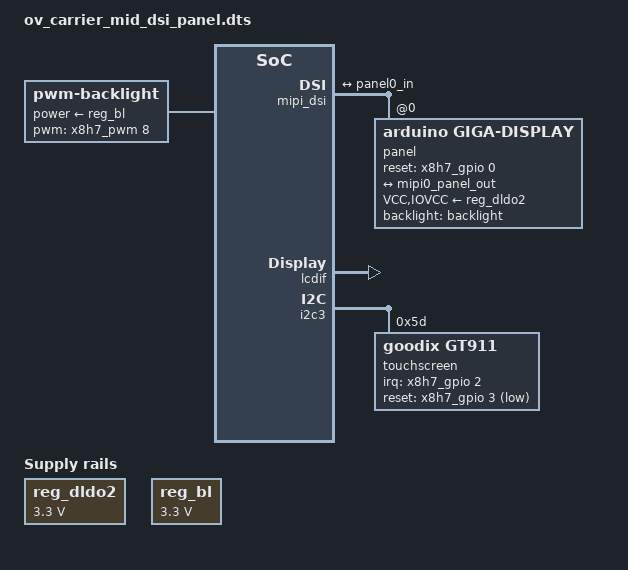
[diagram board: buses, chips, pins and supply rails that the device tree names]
/**
 * Portenta-X8 dtb overlay file
 * Arduino 2023
 * Enable display dsi panel and touch screen.
 */

/dts-v1/;
/plugin/;

#include "imx8mm-pinfunc.h"
#include <dt-bindings/gpio/gpio.h>

/ {
	fragment@0 {
		target-path = "/";
		__overlay__ {
			reg_dldo2: reg-dldo2 {
				compatible = "regulator-fixed";
				regulator-name = "mipi_panel_reg";
				regulator-min-microvolt = <3300000>;
				regulator-max-microvolt = <3300000>;
				regulator-always-on;
			};

			reg_bl: reg-bl {
				compatible = "regulator-fixed";
				regulator-name = "mipi_panel_backlight";
				regulator-min-microvolt = <3300000>;
				regulator-max-microvolt = <3300000>;
				regulator-always-on;
			};

			backlight: backlight-controller {
				compatible = "pwm-backlight";
				pwms = <&x8h7_pwm 8 100000 0>;
				power-supply = <&reg_bl>;
				brightness-levels = <0 11 20 30 40 50 60 70 80 90 100>;
				default-brightness-level = <9>;	/* => 90 */
			};
		};

	};

	fragment@1 {
		target = <&mipi_dsi>;
		__overlay__ {
			status = "okay";

			panel@0 {
				pinctrl-names = "default";
				compatible = "arduino,giga-display","sitronix,st7701";
				reg = <0>;
				VCC-supply = <&reg_dldo2>;
				IOVCC-supply = <&reg_dldo2>;
				reset-gpios = <&x8h7_gpio 0 GPIO_ACTIVE_HIGH>;
				backlight = <&backlight>;
				dsi-lanes = <2>;
				video-mode = <2>;	/* 0: burst mode
									 * 1: non-burst mode with sync event
									 * 2: non-burst mode with sync pulse
									 */
				status = "okay";

				port {
					panel0_in: endpoint {
						remote-endpoint = <&mipi0_panel_out>;
					};
				};
			};

			port@1 {
				mipi0_panel_out: endpoint {
					attach-bridge;
					remote-endpoint = <&panel0_in>;
				};
			};
		};
	};

	fragment@2 {
		target = <&lcdif>;
		__overlay__ {
			status = "okay";
		};
	};

	fragment@3 {
		target = <&i2c3>;
		__overlay__ {
			touchscreen@5d {
				pinctrl-names = "default";
				compatible = "goodix,gt911";
				reg = <0x5d>;
				interrupts-extended = <&x8h7_gpio 2 GPIO_ACTIVE_HIGH>;
				irq-gpios = <&x8h7_gpio 2 GPIO_ACTIVE_HIGH>;
				reset-gpios = <&x8h7_gpio 3 GPIO_ACTIVE_LOW>;
			};
		};
	};
};
